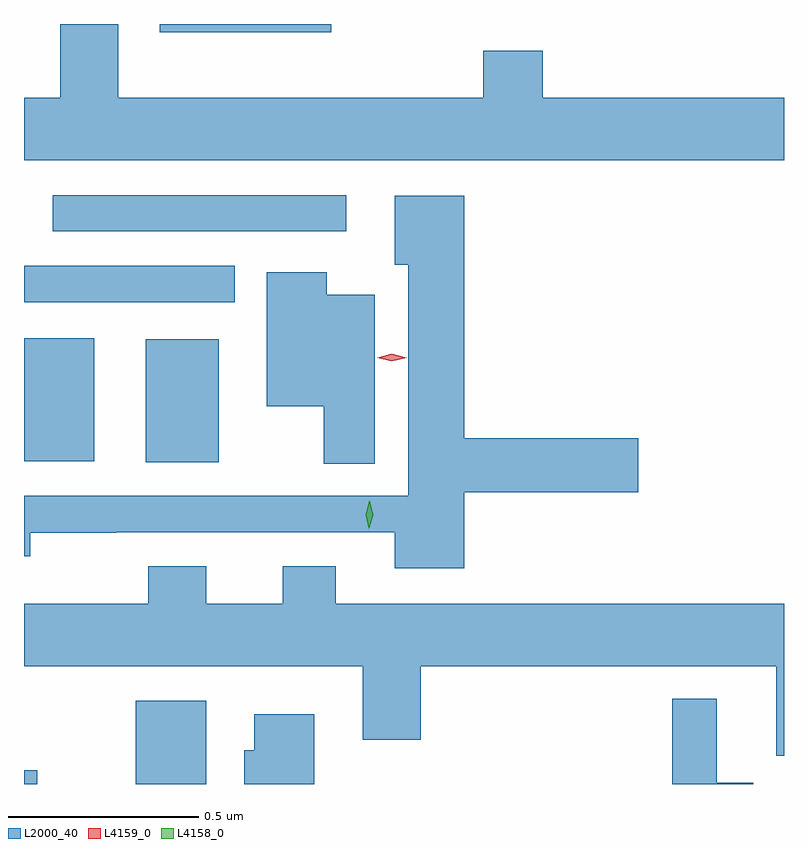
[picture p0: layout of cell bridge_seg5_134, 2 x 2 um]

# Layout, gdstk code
import gdstk
lib = gdstk.Library(unit=1e-6, precision=1e-09)
def R(c, l, rs):  # rectangles x0, y0, x1, y1
    for r in rs: c.add(gdstk.rectangle(r[:2], r[2:], *l))
def P(c, l, *ps):  # polygons
    for p in ps: c.add(gdstk.Polygon(p, *l))
L2000_40 = (2000, 40)
L4158_0 = (4158, 0)
L4159_0 = (4159, 0)

bridge_seg5_134 = lib.new_cell('bridge_seg5_134')
R(bridge_seg5_134, L2000_40, [(417.863,889.75,417.898,889.786), (418.157,889.75,418.342,889.969), (418.184,890.597,418.375,890.92), (417.863,890.6,418.048,890.923), (417.863,891.018,418.417,891.114), (417.939,891.204,418.711,891.3), (418.22,891.728,418.672,891.75)])
P(bridge_seg5_134, L2000_40, [(419.863,891.556),(419.228,891.556),(419.228,891.68),(419.071,891.68),(419.071,891.556),(418.111,891.556),(418.111,891.75),(417.959,891.75),(417.959,891.556),(417.863,891.556),(417.863,891.392),(419.863,891.392)],
  [(419.021,890.518),(419.479,890.518),(419.479,890.66),(419.021,890.66),(419.021,891.298),(418.838,891.298),(418.838,891.116),(418.874,891.116),(418.874,890.508),(417.863,890.508),(417.863,890.349),(417.879,890.349),(417.879,890.411),(418.106,890.411),(418.106,890.412),(418.838,890.412),(418.838,890.318),(419.021,890.318)],
  [(418.786,891.037),(418.66,891.037),(418.66,891.097),(418.502,891.097),(418.502,890.744),(418.652,890.744),(418.652,890.593),(418.786,890.593)],
  [(419.863,890.224),(418.684,890.224),(418.684,890.323),(418.544,890.323),(418.544,890.224),(418.342,890.224),(418.342,890.323),(418.19,890.323),(418.19,890.224),(417.863,890.224),(417.863,890.06),(418.754,890.06),(418.754,889.866),(418.907,889.866),(418.907,890.06),(419.843,890.06),(419.843,889.825),(419.863,889.825)],
  [(419.782,889.753),(419.686,889.753),(419.686,889.975),(419.569,889.975),(419.569,889.75),(419.782,889.75)],
  [(418.627,889.933),(418.469,889.933),(418.469,889.839),(418.442,889.839),(418.442,889.75),(418.627,889.75)])
P(bridge_seg5_134, L4158_0, [(418.77,890.423),(418.762,890.459),(418.772,890.494),(418.772,890.495),(418.773,890.494),(418.782,890.458),(418.771,890.423),(418.771,890.423)])
P(bridge_seg5_134, L4159_0, [(418.831,890.862),(418.792,890.872),(418.792,890.872),(418.792,890.872),(418.831,890.882),(418.87,890.872),(418.87,890.872),(418.87,890.872)])

lib.write_gds('bridge_seg5_134.gds')
